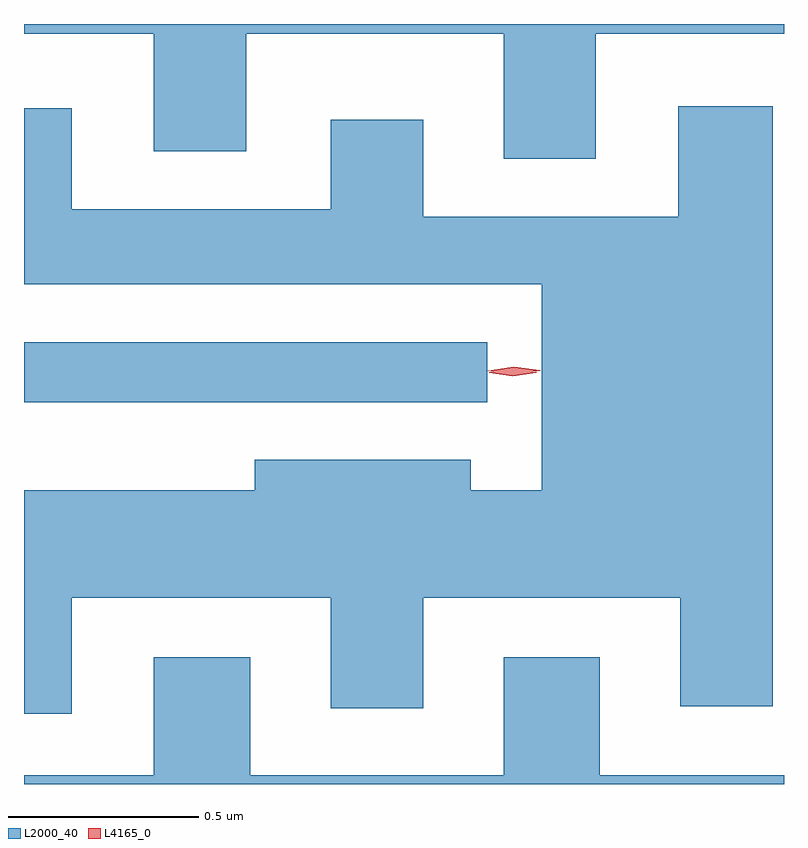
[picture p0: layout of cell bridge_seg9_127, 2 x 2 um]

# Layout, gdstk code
import gdstk
lib = gdstk.Library(unit=1e-6, precision=1e-09)
def R(c, l, rs):  # rectangles x0, y0, x1, y1
    for r in rs: c.add(gdstk.rectangle(r[:2], r[2:], *l))
def P(c, l, *ps):  # polygons
    for p in ps: c.add(gdstk.Polygon(p, *l))
L2000_40 = (2000, 40)
L4165_0 = (4165, 0)

bridge_seg9_127 = lib.new_cell('bridge_seg9_127')
R(bridge_seg9_127, L2000_40, [(1863.619,1946.446,1864.838,1946.604)])
P(bridge_seg9_127, L2000_40, [(1865.124,1947.416),(1865.619,1947.416),(1865.619,1947.441),(1863.619,1947.441),(1863.619,1947.416),(1863.961,1947.416),(1863.961,1947.106),(1864.204,1947.106),(1864.204,1947.416),(1864.881,1947.416),(1864.881,1947.086),(1865.124,1947.086)],
  [(1863.744,1945.931),(1864.426,1945.931),(1864.426,1945.641),(1864.669,1945.641),(1864.669,1945.931),(1865.346,1945.931),(1865.346,1945.646),(1865.589,1945.646),(1865.589,1947.224),(1865.341,1947.224),(1865.341,1946.934),(1864.669,1946.934),(1864.669,1947.189),(1864.426,1947.189),(1864.426,1946.954),(1863.744,1946.954),(1863.744,1947.219),(1863.619,1947.219),(1863.619,1946.756),(1864.981,1946.756),(1864.981,1946.214),(1864.794,1946.214),(1864.794,1946.294),(1864.226,1946.294),(1864.226,1946.214),(1863.619,1946.214),(1863.619,1945.626),(1863.744,1945.626)],
  [(1865.619,1945.464),(1865.134,1945.464),(1865.134,1945.774),(1864.881,1945.774),(1864.881,1945.464),(1864.214,1945.464),(1864.214,1945.774),(1863.961,1945.774),(1863.961,1945.464),(1863.619,1945.464),(1863.619,1945.441),(1865.619,1945.441)])
P(bridge_seg9_127, L4165_0, [(1864.908,1946.519),(1864.84,1946.528),(1864.839,1946.528),(1864.84,1946.529),(1864.908,1946.539),(1864.977,1946.53),(1864.977,1946.529),(1864.977,1946.529)],
  [(1864.905,1946.514),(1864.843,1946.523),(1864.843,1946.524),(1864.843,1946.524),(1864.905,1946.534),(1864.967,1946.524),(1864.968,1946.524),(1864.967,1946.523)])

lib.write_gds('bridge_seg9_127.gds')
